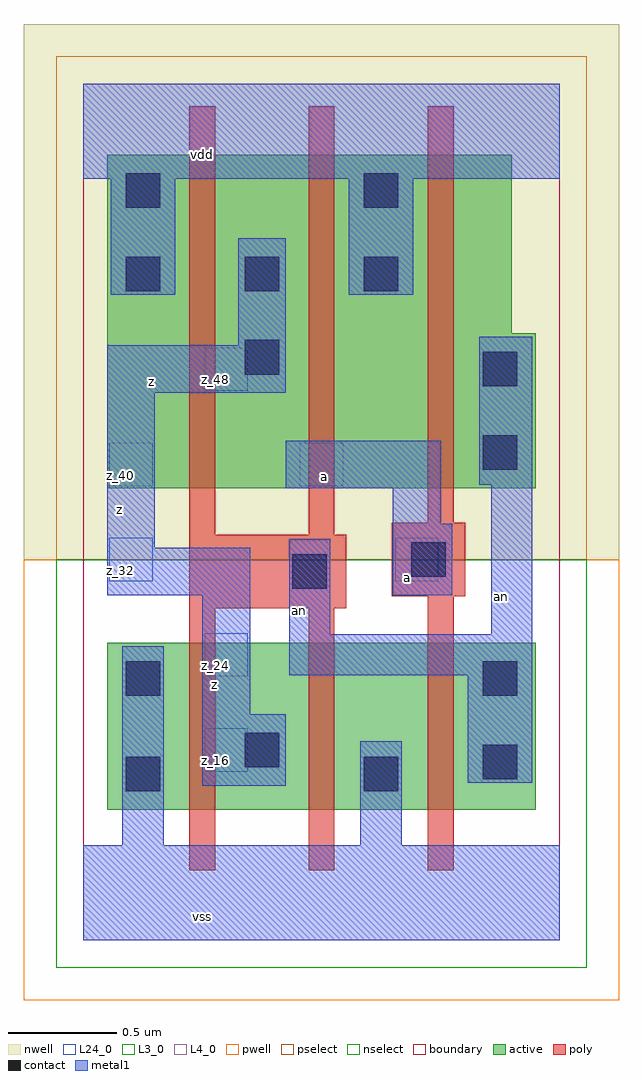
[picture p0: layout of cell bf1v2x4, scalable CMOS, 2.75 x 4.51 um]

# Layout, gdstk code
import gdstk
lib = gdstk.Library(unit=1e-6, precision=2.5e-09)
def R(c, l, rs):  # rectangles x0, y0, x1, y1
    for r in rs: c.add(gdstk.rectangle(r[:2], r[2:], *l))
def A(c, l, x, y, w, h, nx, ny, dx, dy):  # array of equal rectangles
    R(c, l, [(x+i*dx, y+j*dy, x+i*dx+w, y+j*dy+h) for i in range(nx) for j in range(ny)])
L3_0 = (3, 0)
L4_0 = (4, 0)
L24_0 = (24, 0)
contact = (25, 0)
pwell = (41, 0)
nwell = (42, 0)
active = (43, 0)
pselect = (44, 0)
nselect = (45, 0)
poly = (46, 0)
metal1 = (49, 0)
boundary = (63, 0)

bf1v2x4 = lib.new_cell('bf1v2x4')
R(bf1v2x4, L3_0, [(0.11,0.605,2.09,1.375)])
R(bf1v2x4, L4_0, [(0.11,2.09,2.09,2.805), (0.11,2.805,1.98,3.63)])
R(bf1v2x4, L24_0, [(0.56,0.78,0.76,0.98), (0.56,1.22,0.76,1.42), (0.12,1.66,0.32,1.86), (1.44,1.66,1.64,1.86), (0.12,2.1,0.32,2.3), (1,2.1,1.2,2.3), (0.56,2.54,0.76,2.74)])
A(bf1v2x4, contact, 0.195, 3, 0.16, 0.16, 3, 1, 0.55, 0)
R(bf1v2x4, contact, [(0.195,0.69,0.355,0.85), (1.295,0.69,1.455,0.85), (1.845,0.745,2.005,0.905), (0.745,0.8,0.905,0.96), (0.195,1.13,0.355,1.29), (1.845,1.13,2.005,1.29), (0.965,1.625,1.125,1.785), (1.515,1.68,1.675,1.84), (1.845,2.175,2.005,2.335), (1.845,2.56,2.005,2.72), (0.745,2.615,0.905,2.775), (0.195,3.385,0.355,3.545), (1.295,3.385,1.455,3.545)])
R(bf1v2x4, pwell, [(-0.275,-0.275,2.475,1.76)])
R(bf1v2x4, nwell, [(-0.275,1.76,2.475,4.235)])
R(bf1v2x4, active, [(0.11,0.605,2.09,1.375), (0.11,2.09,2.09,2.805), (0.11,2.805,1.98,3.63)])
R(bf1v2x4, pselect, [(-0.125,1.76,2.325,4.085)])
R(bf1v2x4, nselect, [(-0.125,-0.125,2.325,1.76)])
R(bf1v2x4, poly, [(0.49,0.325,0.61,1.535), (1.04,0.325,1.16,1.535), (1.59,0.325,1.71,1.59), (0.49,1.535,1.215,1.875), (1.425,1.59,1.765,1.93), (0.49,1.875,0.61,3.855), (1.04,1.875,1.16,3.855), (1.59,1.93,1.71,3.855)])
R(bf1v2x4, metal1, [(0,0,2.2,0.44), (0.18,0.44,0.37,1.36), (1.28,0.44,1.47,0.92), (0.55,0.715,0.935,1.045), (1.775,0.73,2.075,1.225), (0.55,1.045,0.77,1.595), (0.95,1.225,2.075,1.415), (0.95,1.415,1.14,1.855), (1.885,1.415,2.075,2.105), (0.11,1.595,0.77,1.815), (1.43,1.595,1.705,1.925), (0.11,1.815,0.33,2.53), (1.43,1.925,1.65,2.09), (0.935,2.09,1.65,2.31), (1.83,2.105,2.075,2.79), (0.11,2.53,0.935,2.75), (0.715,2.75,0.935,3.245), (0.125,2.985,0.425,3.52), (1.225,2.985,1.525,3.52), (0,3.52,2.2,3.96)])
R(bf1v2x4, boundary, [(0,0,2.2,3.96)])
bf1v2x4.add(gdstk.Label('vss', (0.55,0.11), layer=49, texttype=0))
bf1v2x4.add(gdstk.Label('an', (1.9325,1.5875), layer=49, texttype=0))
bf1v2x4.add(gdstk.Label('a', (1.4975,1.6775), layer=49, texttype=0))
bf1v2x4.add(gdstk.Label('an', (0.9975,1.525), layer=49, texttype=0))
bf1v2x4.add(gdstk.Label('z', (0.605,1.1825), layer=49, texttype=0))
bf1v2x4.add(gdstk.Label('a', (1.1125,2.145), layer=49, texttype=0))
bf1v2x4.add(gdstk.Label('z', (0.165,1.9925), layer=49, texttype=0))
bf1v2x4.add(gdstk.Label('z', (0.315,2.585), layer=49, texttype=0))
bf1v2x4.add(gdstk.Label('vdd', (0.55,3.63), layer=49, texttype=0))
bf1v2x4.add(gdstk.Label('z_16', (0.61,0.83), layer=24, texttype=0))
bf1v2x4.add(gdstk.Label('z_48', (0.61,2.59), layer=24, texttype=0))
bf1v2x4.add(gdstk.Label('a_40', (1.05,2.15), layer=24, texttype=0))
bf1v2x4.add(gdstk.Label('a_32', (1.49,1.71), layer=24, texttype=0))
bf1v2x4.add(gdstk.Label('z_32', (0.17,1.71), layer=24, texttype=0))
bf1v2x4.add(gdstk.Label('z_40', (0.17,2.15), layer=24, texttype=0))
bf1v2x4.add(gdstk.Label('z_24', (0.61,1.27), layer=24, texttype=0))

lib.write_gds('bf1v2x4.gds')
